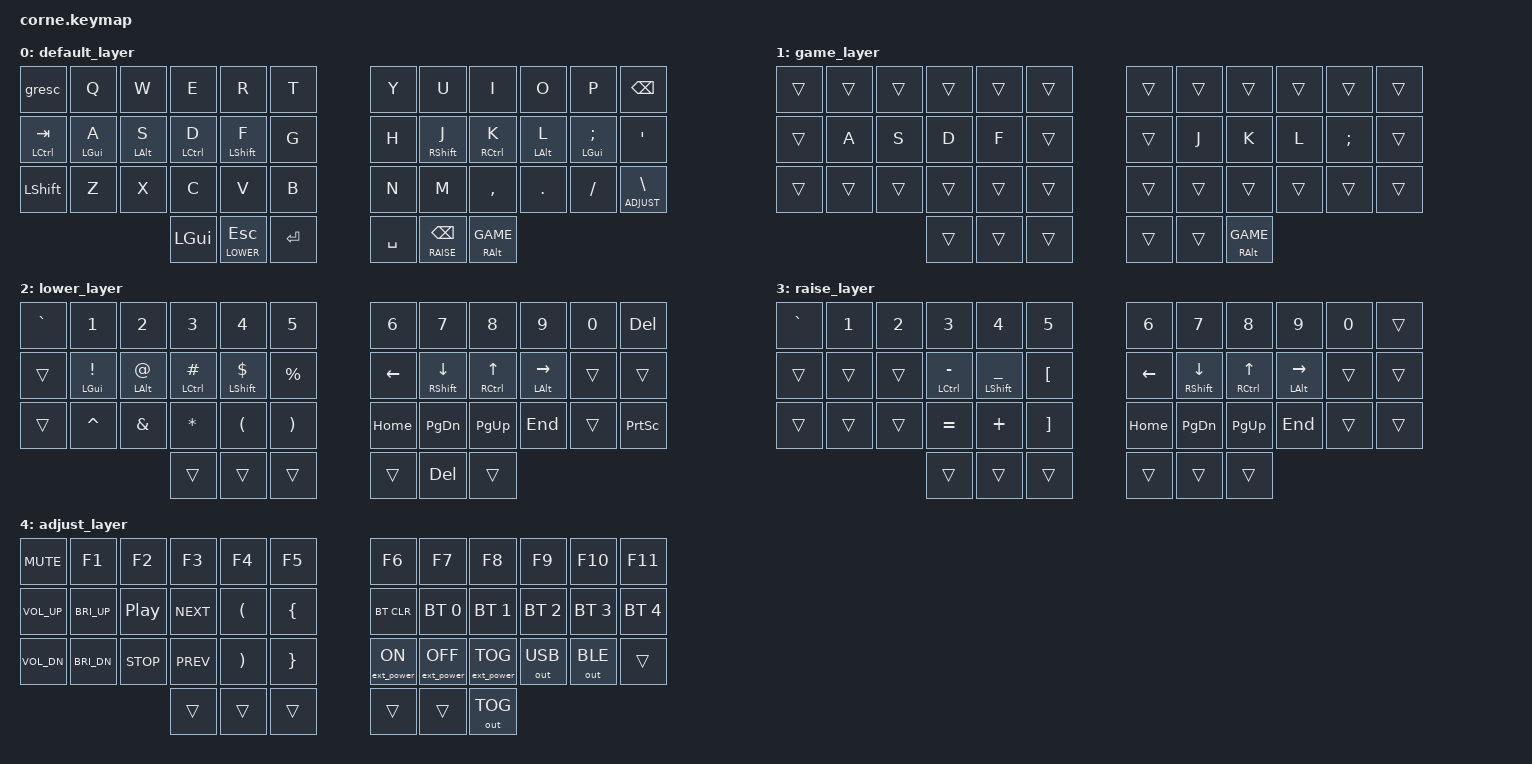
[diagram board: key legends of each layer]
/*
 * Copyright (c) 2020 The ZMK Contributors
 *
 * SPDX-License-Identifier: MIT
 */

#include <behaviors.dtsi>
#include <dt-bindings/zmk/bt.h>
#include <dt-bindings/zmk/ext_power.h>
#include <dt-bindings/zmk/keys.h>
#include <dt-bindings/zmk/outputs.h>

#define DEFAULT 0
#define GAME    1
#define LOWER   2
#define RAISE   3
#define ADJUST  4

&lt { quick-tap-ms = <200>; };

&mt { quick-tap-ms = <200>; };

/ {
    behaviors {
        hm: homerow_mods {
            compatible = "zmk,behavior-hold-tap";
            label = "HOMEROW_MODS";
            #binding-cells = <2>;
            tapping-term-ms = <175>;
            quick_tap_ms = <200>;
            flavor = "tap-preferred";
            bindings = <&kp>, <&kp>;
        };

        gresc: grave_escape {
            compatible = "zmk,behavior-mod-morph";
            label = "GRAVE_ESCAPE";
            #binding-cells = <0>;
            bindings = <&kp ESC>, <&kp GRAVE>;

            mods = <(MOD_LALT|MOD_LSFT|MOD_RALT|MOD_RSFT)>;
        };

        hold_tog: behavior_mo_tog {
            compatible = "zmk,behavior-hold-tap";
            label = "HOLD_TOG";
            #binding-cells = <2>;
            flavor = "hold-preferred";
            tapping-term-ms = <200>;
            bindings = <&kp>, <&tog>;
        };
    };

    keymap {
        compatible = "zmk,keymap";

        default_layer {
            // -----------------------------------------------------------------------------------------------------------------
            // | `/ESC |  Q  |  W  |  E  |  R   |  T   |                   |  Y   	    |  U    |  I    |  O   |   P   |  BSPC  |
            // |CTRL/TAB| A  |  S  |  D  |  F   |  G   |                   |  H         |  J    |  K    |  L   |   ;   |   '    |
            // | SHIFT |  Z  |  X  |  C  |  V   |  B   |                   |  N   	    |  M    |  ,    |  .   |   /   |\/ADJUST|
            //                           | GUI  |LOW/ESC| ENTER |  | SPACE | RAISE/BSPC |ALT/GAME|

            bindings = <
&gresc         &kp Q       &kp W       &kp E        &kp R          &kp T      &kp Y      &kp U           &kp I                &kp O       &kp P          &kp BSPC
&hm LCTRL TAB  &hm LGUI A  &hm LALT S  &hm LCTRL D  &hm LSHFT F    &kp G      &kp H      &hm RSHFT J     &hm RCTRL K          &hm LALT L  &hm LGUI SEMI  &kp SQT
&kp LSHFT      &kp Z       &kp X       &kp C        &kp V          &kp B      &kp N      &kp M           &kp COMMA            &kp DOT     &kp FSLH       &lt ADJUST BSLH
                                       &kp LGUI     &lt LOWER ESC  &kp RET    &kp SPACE  &lt RAISE BSPC  &hold_tog RALT GAME
            >;
        };

        game_layer {
            // Drops the home row mods so you can WASD
            // -----------------------------------------------------------------------------------------------------------------
            // | `/ESC |  Q  |  W  |  E  |  R   |  T   |                   |  Y   	    |  U    |  I    |  O   |   P   |  BSPC  |
            // |CTRL/TAB| A  |  S  |  D  |  F   |  G   |                   |  H 	    |  J    |  K    |  L   |   ;   |   '    |
            // | SHIFT |  Z  |  X  |  C  |  V   |  B   |                   |  N   	    |  M    |  ,    |  .   |   /   |\/ADJUST|
            //                           | GUI  |LOW/ESC| ENTER |  | SPACE | RAISE/BSPC |ALT/GAME|

            bindings = <
&trans  &trans  &trans  &trans  &trans  &trans    &trans  &trans  &trans               &trans  &trans    &trans
&trans  &kp A   &kp S   &kp D   &kp F   &trans    &trans  &kp J   &kp K                &kp L   &kp SEMI  &trans
&trans  &trans  &trans  &trans  &trans  &trans    &trans  &trans  &trans               &trans  &trans    &trans
                        &trans  &trans  &trans    &trans  &trans  &hold_tog RALT GAME
            >;
        };

        lower_layer {
            // ------------------------------------------------------------------------------------------------------
            // |    |  1  |  2  |  3   |  4   |  5   |                   |  6   |   7   |  8  |  9   |   0   |  DEL  |
            // |    |  !  |  @  |  #   |  $   |  %   |                   |  <-  |   v   |  ^  |  ->  |       |       |
            // |    |  ^  |  &  |  *   |  (   |  )   |                   | <<-  |  vv   |  ^^ |  ->> |       | PTSCN |
            //                         |      |      |        |  |       |  DEL |       |

            bindings = <
&kp GRAVE  &kp N1         &kp N2       &kp N3          &kp N4            &kp N5       &kp N6    &kp N7          &kp N8        &kp N9          &kp N0  &kp DEL
&trans     &hm LGUI EXCL  &hm LALT AT  &hm LCTRL HASH  &hm LSHFT DOLLAR  &kp PRCNT    &kp LEFT  &hm RSHFT DOWN  &hm RCTRL UP  &hm LALT RIGHT  &trans  &trans
&trans     &kp CARET      &kp AMPS     &kp STAR        &kp LPAR          &kp RPAR     &kp HOME  &kp PG_DN       &kp PG_UP     &kp END         &trans  &kp PRINTSCREEN
                                       &trans          &trans            &trans       &trans    &kp DEL         &trans
            >;
        };

        raise_layer {
            // ---------------------------------------------------------------------------------------------------------------
            // |  `    |   1   |   2    |   3   |   4  |   5  |  		    	|   6  |   7   |   8   |   9  |   0   |       |
            // |       |       |        |   -  |   _   |   [  |                 |  <-  |   v   |   ^   |  ->  |       |       |
            // |       |       |        |   =  |   +   |   ]  |      	        | <<-  |  vv   |  ^^   |  ->> |       |       |
            //                          |       |      |      |      |  |       |      |       |       |

            bindings = <
&kp GRAVE  &kp N1  &kp N2  &kp N3           &kp N4           &kp N5      &kp N6    &kp N7          &kp N8        &kp N9          &kp N0  &trans
&trans     &trans  &trans  &hm LCTRL MINUS  &hm LSHFT UNDER  &kp LBKT    &kp LEFT  &hm RSHFT DOWN  &hm RCTRL UP  &hm LALT RIGHT  &trans  &trans
&trans     &trans  &trans  &kp EQUAL        &kp PLUS         &kp RBKT    &kp HOME  &kp PG_DN       &kp PG_UP     &kp END         &trans  &trans
                           &trans           &trans           &trans      &trans    &trans          &trans
            >;
        };

        adjust_layer {
            // ---------------------------------------------------------------------------------------------------------------
            // | Mute  |  F1   |  F2    |  F3   |  F4  |  F5  |  	    	    |  F6  |  F7   |  F8   |  F9  |  F10  |  F11  |
            // | VolU  |  BriU | MPlay  | MNext |      |      |                 |BTCLR |  BT1  |  BT2  |  BT3 |  BT4  |  BT5  |
            // | VolD  |  BRiD | MStop  | MPrev |      |      |                 | EPON | EPOFF | EPTOG | USB  |  BLE  |		  |
            //                                  |      |      |      |  |       |      | OUTTOG|

            bindings = <
&kp C_MUTE    &kp F1        &kp F2      &kp F3      &kp F4                 &kp F5             &kp F6            &kp F7             &kp F8             &kp F9        &kp F10       &kp F11
&kp C_VOL_UP  &kp C_BRI_UP  &kp C_PP    &kp C_NEXT  &kp LEFT_PARENTHESIS   &kp LEFT_BRACE     &bt BT_CLR        &bt BT_SEL 0       &bt BT_SEL 1       &bt BT_SEL 2  &bt BT_SEL 3  &bt BT_SEL 4
&kp C_VOL_DN  &kp C_BRI_DN  &kp C_STOP  &kp C_PREV  &kp RIGHT_PARENTHESIS  &kp RIGHT_BRACE    &ext_power EP_ON  &ext_power EP_OFF  &ext_power EP_TOG  &out OUT_USB  &out OUT_BLE  &trans
                                        &trans      &trans                 &trans             &trans            &trans             &out OUT_TOG
            >;
        };
    };
};
